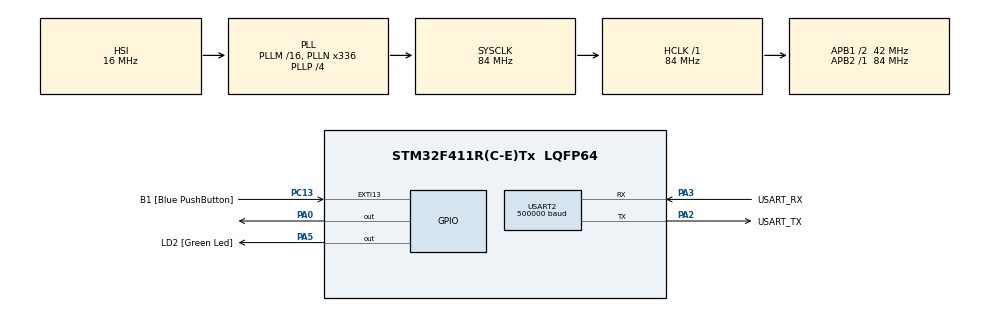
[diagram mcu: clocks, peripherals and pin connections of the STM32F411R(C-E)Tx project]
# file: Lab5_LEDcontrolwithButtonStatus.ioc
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Dma.Request0=USART2_RX
Dma.Request1=USART2_TX
Dma.USART2_RX.0.Direction=DMA_PERIPH_TO_MEMORY
Dma.USART2_RX.0.FIFOMode=DMA_FIFOMODE_DISABLE
Dma.USART2_RX.0.Instance=DMA1_Stream5
Dma.USART2_RX.0.MemDataAlignment=DMA_MDATAALIGN_BYTE
Dma.USART2_RX.0.MemInc=DMA_MINC_ENABLE
Dma.USART2_RX.0.Mode=DMA_CIRCULAR
Dma.USART2_RX.0.PeriphDataAlignment=DMA_PDATAALIGN_BYTE
Dma.USART2_RX.0.PeriphInc=DMA_PINC_DISABLE
Dma.USART2_RX.0.Priority=DMA_PRIORITY_LOW
Dma.USART2_TX.1.Direction=DMA_MEMORY_TO_PERIPH
Dma.USART2_TX.1.FIFOMode=DMA_FIFOMODE_DISABLE
Dma.USART2_TX.1.Instance=DMA1_Stream6
Dma.USART2_TX.1.MemDataAlignment=DMA_MDATAALIGN_BYTE
Dma.USART2_TX.1.MemInc=DMA_MINC_ENABLE
Dma.USART2_TX.1.Mode=DMA_NORMAL
Dma.USART2_TX.1.PeriphDataAlignment=DMA_PDATAALIGN_BYTE
Dma.USART2_TX.1.PeriphInc=DMA_PINC_DISABLE
Dma.USART2_TX.1.Priority=DMA_PRIORITY_LOW
Mcu.Family=STM32F4
Mcu.Name=STM32F411R(C-E)Tx
Mcu.Package=LQFP64
NVIC.DMA1_Stream5_IRQn=true\:0\:0\:false\:false\:true\:false\:true\:true
NVIC.DMA1_Stream6_IRQn=true\:0\:0\:false\:false\:true\:false\:true\:true
NVIC.PriorityGroup=NVIC_PRIORITYGROUP_0
NVIC.USART2_IRQn=true\:0\:0\:false\:false\:true\:true\:true\:true
PA0-WKUP.Signal=GPIO_Output
PA13.GPIO_Label=TMS
PA13.Mode=Serial_Wire
PA13.Signal=SYS_JTMS-SWDIO
PA14.GPIO_Label=TCK
PA14.Mode=Serial_Wire
PA14.Signal=SYS_JTCK-SWCLK
PA2.GPIO_Label=USART_TX
PA2.Mode=Asynchronous
PA2.Signal=USART2_TX
PA3.GPIO_Label=USART_RX
PA3.Mode=Asynchronous
PA3.Signal=USART2_RX
PA5.GPIO_Label=LD2 [Green Led]
PA5.Signal=GPIO_Output
PB3.GPIO_Label=SWO
PB3.Signal=SYS_JTDO-SWO
PC13-ANTI_TAMP.GPIO_Label=B1 [Blue PushButton]
PC13-ANTI_TAMP.GPIO_ModeDefaultEXTI=GPIO_MODE_IT_FALLING
PC13-ANTI_TAMP.Signal=GPXTI13
PC14-OSC32_IN.Mode=LSE-External-Oscillator
PC14-OSC32_IN.Signal=RCC_OSC32_IN
PC15-OSC32_OUT.Mode=LSE-External-Oscillator
PC15-OSC32_OUT.Signal=RCC_OSC32_OUT
PH0\ -\ OSC_IN.Mode=HSE-External-Clock-Source
PH0\ -\ OSC_IN.Signal=RCC_OSC_IN
PH1\ -\ OSC_OUT.Mode=HSE-External-Clock-Source
PH1\ -\ OSC_OUT.Signal=RCC_OSC_OUT
ProjectManager.HeapSize=0x200
ProjectManager.StackSize=0x400
ProjectManager.TargetToolchain=STM32CubeIDE
RCC.48MHZClocksFreq_Value=84000000
RCC.AHBFreq_Value=84000000
RCC.APB1CLKDivider=RCC_HCLK_DIV2
RCC.APB1Freq_Value=42000000
RCC.APB1TimFreq_Value=84000000
RCC.APB2Freq_Value=84000000
RCC.APB2TimFreq_Value=84000000
RCC.CortexFreq_Value=84000000
RCC.FLatency-AdvancedSettings=FLASH_LATENCY_2
RCC.HCLKFreq_Value=84000000
RCC.HSE_VALUE=8000000
RCC.HSI_VALUE=16000000
RCC.PLLN=336
RCC.PLLP=RCC_PLLP_DIV4
RCC.SYSCLKFreq_VALUE=84000000
RCC.SYSCLKSource=RCC_SYSCLKSOURCE_PLLCLK
RCC.VCOOutputFreq_Value=336000000
USART2.BaudRate=500000
USART2.VirtualMode=VM_ASYNC
board=NUCLEO-F411RE

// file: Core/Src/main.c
/* USER CODE BEGIN Header */
/**
  ******************************************************************************
  * @file           : main.c
  * @brief          : Main program body
  ******************************************************************************
  * @attention
  *
  * Copyright (c) 2023 STMicroelectronics.
  * All rights reserved.
  *
  * This software is licensed under terms that can be found in the LICENSE file
  * in the root directory of this software component.
  * If no LICENSE file comes with this software, it is provided AS-IS.
  *
  ******************************************************************************
  */
/* USER CODE END Header */
#include "main.h"

/* USER CODE BEGIN Includes */
#include "stdio.h" //kay
#include "string.h"
/* USER CODE END Includes */

UART_HandleTypeDef huart2;
DMA_HandleTypeDef hdma_usart2_rx;
DMA_HandleTypeDef hdma_usart2_tx;

/* USER CODE BEGIN PV */
uint8_t RxBuffer[2];
uint8_t TxBuffer[150];
/* USER CODE END PV */

void SystemClock_Config(void);
static void MX_GPIO_Init(void);
static void MX_DMA_Init(void);
static void MX_USART2_UART_Init(void);
/* USER CODE BEGIN PFP */
void UARTDMAConfig();
void LEDBlinkTimer();
void LEDandButtonStatus();
void B1ButtonStatus();
/* USER CODE END PFP */

/* USER CODE BEGIN 0 */
int count = 0;
static uint32_t timestamp = 0;
int B1_Status = 0;
char LEDcontrol;
int current = 0;
int before = 0;
int check = 0;
int ButtonStatus = 0;
uint8_t Menu = 2;
int d_case = 0;
int hz = 0;
int frequency = 1;
int a = 0;
/* USER CODE END 0 */

int main(void)
{

  /* MCU Configuration--------------------------------------------------------*/

  /* Reset of all peripherals, Initializes the Flash interface and the Systick. */
  HAL_Init();

  /* Configure the system clock */
  SystemClock_Config();

  /* Initialize all configured peripherals */
  MX_GPIO_Init();
  MX_DMA_Init();
  MX_USART2_UART_Init();
  /* USER CODE BEGIN 2 */
  UARTDMAConfig();
  RxBuffer[1] = '\0';
  sprintf((char*)TxBuffer, "Please Select 0 or 1 \r\n"
		  "-------------------------------- %s\r\n"
		  ,RxBuffer);
  HAL_UART_Transmit_DMA(&huart2, TxBuffer, strlen((char*)TxBuffer));
  /* USER CODE END 2 */

  /* Infinite loop */
  /* USER CODE BEGIN WHILE */
  while (1)
  {
	  LEDBlinkTimer();
	  HAL_GPIO_TogglePin(GPIOA, GPIO_PIN_0);
	  if(d_case == 0)
	  {
		  LEDBlinkTimer();
	  }
	  else if(d_case == 1)
	  {
		  HAL_GPIO_WritePin(LD2_GPIO_Port, LD2_Pin,RESET);
	  }
	  B1ButtonStatus();
    /* USER CODE END WHILE */

  }
}

void SystemClock_Config(void)
{
  RCC_OscInitTypeDef RCC_OscInitStruct = {0};
  RCC_ClkInitTypeDef RCC_ClkInitStruct = {0};

  /** Configure the main internal regulator output voltage
  */
  __HAL_RCC_PWR_CLK_ENABLE();
  __HAL_PWR_VOLTAGESCALING_CONFIG(PWR_REGULATOR_VOLTAGE_SCALE1);

  /** Initializes the RCC Oscillators according to the specified parameters
  * in the RCC_OscInitTypeDef structure.
  */
  RCC_OscInitStruct.OscillatorType = RCC_OSCILLATORTYPE_HSI;
  RCC_OscInitStruct.HSIState = RCC_HSI_ON;
  RCC_OscInitStruct.HSICalibrationValue = RCC_HSICALIBRATION_DEFAULT;
  RCC_OscInitStruct.PLL.PLLState = RCC_PLL_ON;
  RCC_OscInitStruct.PLL.PLLSource = RCC_PLLSOURCE_HSI;
  RCC_OscInitStruct.PLL.PLLM = 16;
  RCC_OscInitStruct.PLL.PLLN = 336;
  RCC_OscInitStruct.PLL.PLLP = RCC_PLLP_DIV4;
  RCC_OscInitStruct.PLL.PLLQ = 4;
  if (HAL_RCC_OscConfig(&RCC_OscInitStruct) != HAL_OK)
  {
    Error_Handler();
  }

  /** Initializes the CPU, AHB and APB buses clocks
  */
  RCC_ClkInitStruct.ClockType = RCC_CLOCKTYPE_HCLK|RCC_CLOCKTYPE_SYSCLK
                              |RCC_CLOCKTYPE_PCLK1|RCC_CLOCKTYPE_PCLK2;
  RCC_ClkInitStruct.SYSCLKSource = RCC_SYSCLKSOURCE_PLLCLK;
  RCC_ClkInitStruct.AHBCLKDivider = RCC_SYSCLK_DIV1;
  RCC_ClkInitStruct.APB1CLKDivider = RCC_HCLK_DIV2;
  RCC_ClkInitStruct.APB2CLKDivider = RCC_HCLK_DIV1;

  if (HAL_RCC_ClockConfig(&RCC_ClkInitStruct, FLASH_LATENCY_2) != HAL_OK)
  {
    Error_Handler();
  }
}

static void MX_USART2_UART_Init(void)
{

  huart2.Instance = USART2;
  huart2.Init.BaudRate = 500000;
  huart2.Init.WordLength = UART_WORDLENGTH_8B;
  huart2.Init.StopBits = UART_STOPBITS_1;
  huart2.Init.Parity = UART_PARITY_NONE;
  huart2.Init.Mode = UART_MODE_TX_RX;
  huart2.Init.HwFlowCtl = UART_HWCONTROL_NONE;
  huart2.Init.OverSampling = UART_OVERSAMPLING_16;
  if (HAL_UART_Init(&huart2) != HAL_OK)
  {
    Error_Handler();
  }

}

static void MX_DMA_Init(void)
{

  /* DMA controller clock enable */
  __HAL_RCC_DMA1_CLK_ENABLE();

  /* DMA interrupt init */
  /* DMA1_Stream5_IRQn interrupt configuration */
  HAL_NVIC_SetPriority(DMA1_Stream5_IRQn, 0, 0);
  HAL_NVIC_EnableIRQ(DMA1_Stream5_IRQn);
  /* DMA1_Stream6_IRQn interrupt configuration */
  HAL_NVIC_SetPriority(DMA1_Stream6_IRQn, 0, 0);
  HAL_NVIC_EnableIRQ(DMA1_Stream6_IRQn);

}

static void MX_GPIO_Init(void)
{
  GPIO_InitTypeDef GPIO_InitStruct = {0};

  /* GPIO Ports Clock Enable */
  __HAL_RCC_GPIOC_CLK_ENABLE();
  __HAL_RCC_GPIOH_CLK_ENABLE();
  __HAL_RCC_GPIOA_CLK_ENABLE();
  __HAL_RCC_GPIOB_CLK_ENABLE();

  /*Configure GPIO pin Output Level */
  HAL_GPIO_WritePin(GPIOA, GPIO_PIN_0|LD2_Pin, GPIO_PIN_RESET);

  /*Configure GPIO pin : B1_Pin */
  GPIO_InitStruct.Pin = B1_Pin;
  GPIO_InitStruct.Mode = GPIO_MODE_IT_FALLING;
  GPIO_InitStruct.Pull = GPIO_NOPULL;
  HAL_GPIO_Init(B1_GPIO_Port, &GPIO_InitStruct);

  /*Configure GPIO pins : PA0 LD2_Pin */
  GPIO_InitStruct.Pin = GPIO_PIN_0|LD2_Pin;
  GPIO_InitStruct.Mode = GPIO_MODE_OUTPUT_PP;
  GPIO_InitStruct.Pull = GPIO_NOPULL;
  GPIO_InitStruct.Speed = GPIO_SPEED_FREQ_LOW;
  HAL_GPIO_Init(GPIOA, &GPIO_InitStruct);

}

/* USER CODE BEGIN 4 */
void UARTDMAConfig()
{
	HAL_UART_Receive_DMA(&huart2, RxBuffer, 1);
}
//-------------------------------------------------------------------------------------
void HAL_UART_RxCpltCallback(UART_HandleTypeDef *huart)
{
	if(huart == &huart2)
	{
		switch(Menu)
		{
		case 0 :
			memset(UARTDMAConfig, 0, sizeof(TxBuffer));
			RxBuffer[1] = '\0';
			LEDcontrol = RxBuffer[0];
			switch(LEDcontrol)
			{
			case 'a' :
				memset(UARTDMAConfig, 0, sizeof(TxBuffer));
				frequency += 1;
				a += 1;
				if(a == 1)
				{
					hz = 2;
				}
				else if(a > 1)
				{
					hz += 1;
				}
				RxBuffer[1] = '\0';
				sprintf((char*)TxBuffer, "frequency(Hz) = %d\r\n-------------------------------- \r\n",hz);
				HAL_UART_Transmit_DMA(&huart2, TxBuffer, strlen((char*)TxBuffer));
				break;
			case 's' :
				memset(UARTDMAConfig, 0, sizeof(TxBuffer));
				frequency -= 1;
				if(frequency < 1)
				{
					frequency = 1;
				}
				hz -= 1;
				if(hz < 0)
				{
					hz = 0;
				}
				RxBuffer[1] = '\0';
				sprintf((char*)TxBuffer, "frequency(Hz) = %d\r\n-------------------------------- \r\n",hz);
				HAL_UART_Transmit_DMA(&huart2, TxBuffer, strlen((char*)TxBuffer));
				break;
			case 'd' :
				memset(UARTDMAConfig, 0, sizeof(TxBuffer));
				count += 1;
				if(count%2 == 0)
				{
					d_case = 0;
					RxBuffer[1] = '\0';
					sprintf((char*)TxBuffer, "LED is ON /%s\r\n-------------------------------- \r\n",RxBuffer);
					HAL_UART_Transmit_DMA(&huart2, TxBuffer, strlen((char*)TxBuffer));
				}
				else if(count%2 == 1)
				{
					d_case = 1;
					RxBuffer[1] = '\0';
					sprintf((char*)TxBuffer, "LED is OFF /%s\r\n-------------------------------- \r\n",RxBuffer);
					HAL_UART_Transmit_DMA(&huart2, TxBuffer, strlen((char*)TxBuffer));
				}
				break;
			case 'x' :
				memset(UARTDMAConfig, 0, sizeof(TxBuffer));
				RxBuffer[1] = '\0';
				sprintf((char*)TxBuffer, "Back to menu, Please Select 0 or 1 /%s\r\n-------------------------------- \r\n",RxBuffer);
				HAL_UART_Transmit_DMA(&huart2, TxBuffer, strlen((char*)TxBuffer));
				Menu = 2;
				break;
			case 4 :
				if(RxBuffer[0] == 'a')
				{
					LEDcontrol = 'a';
				}
				else if(RxBuffer[0] == 's')
				{
					LEDcontrol = 's';
				}
				else if(RxBuffer[0] == 'd')
				{
					LEDcontrol = 'd';
				}
				else if(RxBuffer[0] == 'x')
				{
					LEDcontrol = 'x';
				}
				else
				{
					LEDcontrol = '0';
				}
				break;
			default :
				memset(UARTDMAConfig, 0, sizeof(TxBuffer));
				RxBuffer[1] = '\0';
				sprintf((char*)TxBuffer, "Out of range, Please Select a s d or x /%s\r\n-------------------------------- \r\n",RxBuffer);
				HAL_UART_Transmit_DMA(&huart2, TxBuffer, strlen((char*)TxBuffer));
				LEDcontrol = 4;
				break;
			}
			break;
		case 1 :
			memset(UARTDMAConfig, 0, sizeof(TxBuffer));
			RxBuffer[1] = '\0';
			ButtonStatus = RxBuffer[0];
			switch(ButtonStatus)
			{
			case 3 :
				if(RxBuffer[0] == 'x')
				{
					ButtonStatus = 'x';
				}
				else
				{
					ButtonStatus = '0';
				}
				break;
			case 'x' :
				memset(UARTDMAConfig, 0, sizeof(TxBuffer));
				RxBuffer[1] = '\0';
				sprintf((char*)TxBuffer, "Back to menu, Please Select 0 or 1 /%s\r\n-------------------------------- \r\n",RxBuffer);
				HAL_UART_Transmit_DMA(&huart2, TxBuffer, strlen((char*)TxBuffer));
				Menu = 2;
				break;
			default :
				memset(UARTDMAConfig, 0, sizeof(TxBuffer));
				RxBuffer[1] = '\0';
				sprintf((char*)TxBuffer, "Out of range, Please Press B1 or x /%s\r\n-------------------------------- \r\n",RxBuffer);
				HAL_UART_Transmit_DMA(&huart2, TxBuffer, strlen((char*)TxBuffer));
				ButtonStatus = 3;
				break;
			}
			break;
		case 2 :
			RxBuffer[1] = '\0';
			if(RxBuffer[0] == '0')
			{
				Menu = 0;
				sprintf((char*)TxBuffer, "frequency(Hz) = 1 \r\nPress a for +1hz \r\nPress s for -1hz \r\nPress d for ON/OFF \r\nPress x for Back to menu \r\n-------------------------------- /%s\r\n",RxBuffer);
				HAL_UART_Transmit_DMA(&huart2, TxBuffer, strlen((char*)TxBuffer));
			}
			else if(RxBuffer[0] == '1')
			{
				Menu = 1;
			}
			else
			{
				Menu = 3;
			}
			break;
		default :
			memset(UARTDMAConfig, 0, sizeof(TxBuffer));
			RxBuffer[1] = '\0';
			sprintf((char*)TxBuffer, "Out of range, Please Select 0 or 1 /%s\r\n-------------------------------- \r\n",RxBuffer);
			HAL_UART_Transmit_DMA(&huart2, TxBuffer, strlen((char*)TxBuffer));
			Menu = 2;
			break;
		}
	}
}
//-------------------------------------------------------------------------------------
void LEDBlinkTimer()
{
	  if(HAL_GetTick() >= timestamp)
	  {
		  timestamp = HAL_GetTick() + (1000/(2*frequency));
		  HAL_GPIO_TogglePin(LD2_GPIO_Port, LD2_Pin);
	  }
}
//-------------------------------------------------------------------------------------
void B1ButtonStatus()
{
	current = HAL_GPIO_ReadPin(GPIOC, GPIO_PIN_13);

	if(Menu == 1)
	{
		memset(UARTDMAConfig, 0, sizeof(TxBuffer));
		if(before == 1 && current == 0)
		{
			sprintf((char*)TxBuffer, "B1 is Press %d\r\n-------------------------------- \r\n",current);
			HAL_UART_Transmit_DMA(&huart2, TxBuffer, strlen((char*)TxBuffer));
		}
		else if(before == 0 && current == 1)
		{
			sprintf((char*)TxBuffer, "B1 is UnPress %d\r\n-------------------------------- \r\n",current);
			HAL_UART_Transmit_DMA(&huart2, TxBuffer, strlen((char*)TxBuffer));
		}
		before = current;
	}
}
/* USER CODE END 4 */

void Error_Handler(void)
{
  __disable_irq();
  while (1)
  {
  }
}
